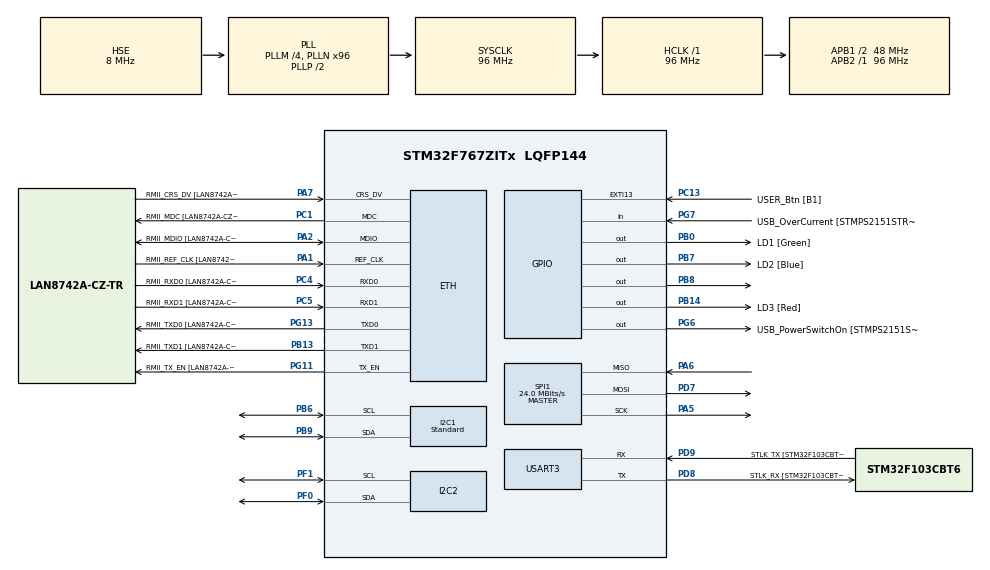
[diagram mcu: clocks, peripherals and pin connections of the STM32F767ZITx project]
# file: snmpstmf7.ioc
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ETH.MediaInterface=ETH_MEDIA_INTERFACE_RMII
ETH.PHY_Name=LAN8742A_PHY_ADDRESS
ETH.PHY_Value=0
ETH.PhyAddress=0
I2C1.I2C_Speed_Mode=I2C_Standard
I2C1.Timing=0x20303E5D
I2C2.Timing=0x20303E5D
LWIP.LWIP_SNMP=1
LWIP.Version=v2.1.2_Cube
Mcu.Family=STM32F7
Mcu.Name=STM32F767ZITx
Mcu.Package=LQFP144
NVIC.PriorityGroup=NVIC_PRIORITYGROUP_4
NVIC.TIM2_IRQn=true\:0\:0\:false\:false\:true\:true\:true\:true
NVIC.TIM4_IRQn=true\:0\:0\:false\:false\:true\:true\:true\:true
PA1.GPIO_Label=RMII_REF_CLK [LAN8742A-CZ-TR_REFCLK0]
PA1.Mode=RMII
PA1.Signal=ETH_REF_CLK
PA10.GPIO_Label=USB_ID
PA10.Signal=USB_OTG_FS_ID
PA11.GPIO_Label=USB_DM
PA11.Signal=USB_OTG_FS_DM
PA12.GPIO_Label=USB_DP
PA12.Signal=USB_OTG_FS_DP
PA13.GPIO_Label=TMS
PA13.Mode=Serial_Wire
PA13.Signal=SYS_JTMS-SWDIO
PA14.GPIO_Label=TCK
PA14.Mode=Serial_Wire
PA14.Signal=SYS_JTCK-SWCLK
PA2.GPIO_Label=RMII_MDIO [LAN8742A-CZ-TR_MDIO]
PA2.Mode=RMII
PA2.Signal=ETH_MDIO
PA5.Mode=Full_Duplex_Master
PA5.Signal=SPI1_SCK
PA6.Mode=Full_Duplex_Master
PA6.Signal=SPI1_MISO
PA7.GPIO_Label=RMII_CRS_DV [LAN8742A-CZ-TR_CRS_DV]
PA7.Mode=RMII
PA7.Signal=ETH_CRS_DV
PA8.GPIO_Label=USB_SOF [TP1]
PA8.Signal=USB_OTG_FS_SOF
PA9.GPIO_Label=USB_VBUS
PA9.Signal=USB_OTG_FS_VBUS
PB0.GPIO_Label=LD1 [Green]
PB0.Signal=GPIO_Output
PB13.GPIO_Label=RMII_TXD1 [LAN8742A-CZ-TR_TXD1]
PB13.Mode=RMII
PB13.Signal=ETH_TXD1
PB14.GPIO_Label=LD3 [Red]
PB14.Signal=GPIO_Output
PB3.GPIO_Label=SWO
PB3.Signal=SYS_JTDO-SWO
PB6.Mode=I2C
PB6.Signal=I2C1_SCL
PB7.GPIO_Label=LD2 [Blue]
PB7.Signal=GPIO_Output
PB8.Signal=GPIO_Output
PB9.Mode=I2C
PB9.Signal=I2C1_SDA
PC1.GPIO_Label=RMII_MDC [LAN8742A-CZ-TR_MDC]
PC1.Mode=RMII
PC1.Signal=ETH_MDC
PC13.GPIO_Label=USER_Btn [B1]
PC13.Signal=GPXTI13
PC14/OSC32_IN.Mode=LSE-External-Oscillator
PC14/OSC32_IN.Signal=RCC_OSC32_IN
PC15/OSC32_OUT.Mode=LSE-External-Oscillator
PC15/OSC32_OUT.Signal=RCC_OSC32_OUT
PC4.GPIO_Label=RMII_RXD0 [LAN8742A-CZ-TR_RXD0]
PC4.Mode=RMII
PC4.Signal=ETH_RXD0
PC5.GPIO_Label=RMII_RXD1 [LAN8742A-CZ-TR_RXD1]
PC5.Mode=RMII
PC5.Signal=ETH_RXD1
PD7.Mode=Full_Duplex_Master
PD7.Signal=SPI1_MOSI
PD8.GPIO_Label=STLK_RX [STM32F103CBT6_PA3]
PD8.Mode=Asynchronous
PD8.Signal=USART3_TX
PD9.GPIO_Label=STLK_TX [STM32F103CBT6_PA2]
PD9.Mode=Asynchronous
PD9.Signal=USART3_RX
PF0.Mode=I2C
PF0.Signal=I2C2_SDA
PF1.Mode=I2C
PF1.Signal=I2C2_SCL
PG11.GPIO_Label=RMII_TX_EN [LAN8742A-CZ-TR_TXEN]
PG11.Mode=RMII
PG11.Signal=ETH_TX_EN
PG13.GPIO_Label=RMII_TXD0 [LAN8742A-CZ-TR_TXD0]
PG13.Mode=RMII
PG13.Signal=ETH_TXD0
PG6.GPIO_Label=USB_PowerSwitchOn [STMPS2151STR_EN]
PG6.Signal=GPIO_Output
PG7.GPIO_Label=USB_OverCurrent [STMPS2151STR_FAULT]
PG7.Signal=GPIO_Input
PH0/OSC_IN.GPIO_Label=MCO [STM32F103CBT6_PA8]
PH0/OSC_IN.Mode=HSE-External-Oscillator
PH0/OSC_IN.Signal=RCC_OSC_IN
PH1/OSC_OUT.Mode=HSE-External-Oscillator
PH1/OSC_OUT.Signal=RCC_OSC_OUT
ProjectManager.HeapSize=0x200
ProjectManager.StackSize=0x400
ProjectManager.TargetToolchain=STM32CubeIDE
RCC.48MHZClocksFreq_Value=24000000
RCC.AHBFreq_Value=96000000
RCC.APB1CLKDivider=RCC_HCLK_DIV2
RCC.APB1Freq_Value=48000000
RCC.APB1TimFreq_Value=96000000
RCC.APB2Freq_Value=96000000
RCC.APB2TimFreq_Value=96000000
RCC.CortexFreq_Value=96000000
RCC.HCLKFreq_Value=96000000
RCC.HSE_VALUE=8000000
RCC.HSI_VALUE=16000000
RCC.PLLM=4
RCC.PLLMUL=RCC_PLL_MUL9
RCC.PLLN=96
RCC.PLLQ=4
RCC.PLLSourceVirtual=RCC_PLLSOURCE_HSE
RCC.PRESCALERUSB=RCC_USBCLKSOURCE_PLL_DIV1_5
RCC.SYSCLKFreq_VALUE=96000000
RCC.SYSCLKSource=RCC_SYSCLKSOURCE_PLLCLK
RCC.SYSCLKSourceVirtual=RCC_SYSCLKSOURCE_PLLCLK
RCC.USBFreq_Value=48000000
RCC.VCOOutputFreq_Value=192000000
SPI1.BaudRatePrescaler=SPI_BAUDRATEPRESCALER_4
SPI1.CalculateBaudRate=24.0 MBits/s
SPI1.DataSize=SPI_DATASIZE_8BIT
SPI1.Direction=SPI_DIRECTION_2LINES
SPI1.Mode=SPI_MODE_MASTER
SPI1.VirtualType=VM_MASTER
USART3.VirtualMode-Asynchronous=VM_ASYNC
VP_LWIP_VS_Enabled.Mode=Enabled
VP_TIM2_VS_ClockSourceINT.Mode=Internal
VP_TIM4_VS_ClockSourceINT.Mode=Internal
board=NUCLEO-F767ZI

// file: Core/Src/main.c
/* USER CODE BEGIN Header */
/**
  ******************************************************************************
  * @file           : main.c
  * @brief          : Main program body
  ******************************************************************************
  * @attention
  *
  * Copyright (c) 2022 STMicroelectronics.
  * All rights reserved.
  *
  * This software is licensed under terms that can be found in the LICENSE file
  * in the root directory of this software component.
  * If no LICENSE file comes with this software, it is provided AS-IS.
  *
  ******************************************************************************
  */
/* USER CODE END Header */
#include "main.h"
#include "lwip.h"

/* USER CODE BEGIN Includes */
#include "lwip/apps/snmp.h"
#include "lwip/apps/snmp_mib2.h"
#include "lwip/apps/snmpv3.h"
#include "lwip/apps/snmp_snmpv2_framework.h"
#include "lwip/apps/snmp_snmpv2_usm.h"
#include "BH1750.h"
#include "sht2x_for_stm32_hal.h"

/* USER CODE END Includes */

I2C_HandleTypeDef hi2c1;
I2C_HandleTypeDef hi2c2;

SPI_HandleTypeDef hspi1;

TIM_HandleTypeDef htim2;
TIM_HandleTypeDef htim4;

UART_HandleTypeDef huart3;

void SystemClock_Config(void);
static void MX_GPIO_Init(void);
static void MX_USART3_UART_Init(void);
static void MX_I2C1_Init(void);
static void MX_SPI1_Init(void);
static void MX_TIM2_Init(void);
static void MX_TIM4_Init(void);
static void MX_I2C2_Init(void);
/* USER CODE BEGIN PFP */
char BHbuffer[50];
BH1750_device_t* test_dev;
unsigned char SHTbuffer[100] = { 0 };

/* USER CODE END PFP */

/* USER CODE BEGIN 0 */
static const struct snmp_mib *my_snmp_mibs[] = { &mib2, &parm_mib };
const u8_t * SNMP_SYSDESCR = (u8_t*) "sample_snmp_agent";
const u16_t SNMP_SYSDESCR_LEN = sizeof("sample_snmp_agent");
//1.3.6.1.2.1.1.4.0
u8_t * SNMP_SYSCONTACT = (u8_t*) "testmail@contact.com";
u16_t SNMP_SYSCONTACT_LEN = sizeof("testmail@contact.com");
//1.3.6.1.2.1.1.5.0
u8_t * SNMP_SYSNAME = (u8_t*) "stm32_Core_board_V2";
uint16_t SNMP_SYSNAME_LEN = sizeof("stm32_Core_board_V2");
//1.3.6.1.2.1.1.6.0
uint8_t * SNMP_SYSLOCATION = (u8_t*) "MY_Company";
uint16_t SNMP_SYSLOCATION_LEN = sizeof("MY_Company");
/*
 * ----- TODO: Global variables for SNMP Trap ^^^
*/

/* buffer for snmp service */
uint16_t snmp_buffer = 64;
uint32_t luxtimer,temptimer;
/* relation between mib node and gpio, exist in my_gpio.h */
uint32_t *leds, *switches, *xgpio;
float cel1 ;
float rh1;
/*
 * TODO: Setup SNMP server
 * Define a specific address to send SNMP broadcast package.
*/
#define SNMP_SERVER_IP "192.168.4.250"

static const char *TAG = "simple_snmp_agent.c";
/* USER CODE END 0 */

int main(void)
{

  /* MCU Configuration--------------------------------------------------------*/

  /* Reset of all peripherals, Initializes the Flash interface and the Systick. */
  HAL_Init();

  /* Configure the system clock */
  SystemClock_Config();

  /* Initialize all configured peripherals */
  MX_GPIO_Init();
  MX_USART3_UART_Init();
  MX_I2C1_Init();
  MX_SPI1_Init();
  MX_LWIP_Init();
  MX_TIM2_Init();
  MX_TIM4_Init();
  MX_I2C2_Init();
  /* USER CODE BEGIN 2 */
test_dev = BH1750_init_dev_struct(&hi2c2, "test device", true);
  BH1750_init_dev(test_dev);
	SHT2x_Init(&hi2c1);
	SHT2x_SetResolution(RES_14_12);

  /* USER CODE END 2 */
  if(HAL_TIM_Base_Start_IT(&htim2) != HAL_OK)
  {
    /* Starting Error */
    Error_Handler();
  }
  if(HAL_TIM_Base_Start_IT(&htim4) != HAL_OK)
  {
    /* Starting Error */
    Error_Handler();
  }
  u32_t gpiovalue = 0;
  	xgpio = &gpiovalue;
	leds = (u32_t*) LD2_Pin;
	switches = (u32_t*) USER_Btn_Pin; //as example
	snmp_mib2_set_syscontact(SNMP_SYSCONTACT, &SNMP_SYSCONTACT_LEN, snmp_buffer);
		snmp_mib2_set_syslocation(SNMP_SYSLOCATION, &SNMP_SYSLOCATION_LEN, snmp_buffer);
		snmp_set_auth_traps_enabled(ENABLE);
		snmp_mib2_set_sysdescr(SNMP_SYSDESCR, &SNMP_SYSDESCR_LEN);
		snmp_mib2_set_sysname(SNMP_SYSNAME, &SNMP_SYSNAME_LEN, snmp_buffer);

		ip_addr_t gw = { 0 };
	    ipaddr_aton(SNMP_SERVER_IP,&gw);

		snmp_trap_dst_ip_set(TRAP_DESTINATION_INDEX, &gw);
		snmp_trap_dst_enable(TRAP_DESTINATION_INDEX, ENABLE);
		snmp_set_mibs(my_snmp_mibs, LWIP_ARRAYSIZE(my_snmp_mibs));

	    snmp_init();
  /* Infinite loop */
  /* USER CODE BEGIN WHILE */
  while (1)
  {
	  MX_LWIP_Process();
			HAL_Delay(1);
	  /* USER CODE END WHILE */

  }
}

void SystemClock_Config(void)
{
  RCC_OscInitTypeDef RCC_OscInitStruct = {0};
  RCC_ClkInitTypeDef RCC_ClkInitStruct = {0};

  /** Configure LSE Drive Capability
  */
  HAL_PWR_EnableBkUpAccess();

  /** Configure the main internal regulator output voltage
  */
  __HAL_RCC_PWR_CLK_ENABLE();
  __HAL_PWR_VOLTAGESCALING_CONFIG(PWR_REGULATOR_VOLTAGE_SCALE3);

  /** Initializes the RCC Oscillators according to the specified parameters
  * in the RCC_OscInitTypeDef structure.
  */
  RCC_OscInitStruct.OscillatorType = RCC_OSCILLATORTYPE_HSE;
  RCC_OscInitStruct.HSEState = RCC_HSE_ON;
  RCC_OscInitStruct.PLL.PLLState = RCC_PLL_ON;
  RCC_OscInitStruct.PLL.PLLSource = RCC_PLLSOURCE_HSE;
  RCC_OscInitStruct.PLL.PLLM = 4;
  RCC_OscInitStruct.PLL.PLLN = 96;
  RCC_OscInitStruct.PLL.PLLP = RCC_PLLP_DIV2;
  RCC_OscInitStruct.PLL.PLLQ = 4;
  RCC_OscInitStruct.PLL.PLLR = 2;
  if (HAL_RCC_OscConfig(&RCC_OscInitStruct) != HAL_OK)
  {
    Error_Handler();
  }

  /** Activate the Over-Drive mode
  */
  if (HAL_PWREx_EnableOverDrive() != HAL_OK)
  {
    Error_Handler();
  }

  /** Initializes the CPU, AHB and APB buses clocks
  */
  RCC_ClkInitStruct.ClockType = RCC_CLOCKTYPE_HCLK|RCC_CLOCKTYPE_SYSCLK
                              |RCC_CLOCKTYPE_PCLK1|RCC_CLOCKTYPE_PCLK2;
  RCC_ClkInitStruct.SYSCLKSource = RCC_SYSCLKSOURCE_PLLCLK;
  RCC_ClkInitStruct.AHBCLKDivider = RCC_SYSCLK_DIV1;
  RCC_ClkInitStruct.APB1CLKDivider = RCC_HCLK_DIV2;
  RCC_ClkInitStruct.APB2CLKDivider = RCC_HCLK_DIV1;

  if (HAL_RCC_ClockConfig(&RCC_ClkInitStruct, FLASH_LATENCY_3) != HAL_OK)
  {
    Error_Handler();
  }
}

static void MX_I2C1_Init(void)
{

  hi2c1.Instance = I2C1;
  hi2c1.Init.Timing = 0x20303E5D;
  hi2c1.Init.OwnAddress1 = 0;
  hi2c1.Init.AddressingMode = I2C_ADDRESSINGMODE_7BIT;
  hi2c1.Init.DualAddressMode = I2C_DUALADDRESS_DISABLE;
  hi2c1.Init.OwnAddress2 = 0;
  hi2c1.Init.OwnAddress2Masks = I2C_OA2_NOMASK;
  hi2c1.Init.GeneralCallMode = I2C_GENERALCALL_DISABLE;
  hi2c1.Init.NoStretchMode = I2C_NOSTRETCH_DISABLE;
  if (HAL_I2C_Init(&hi2c1) != HAL_OK)
  {
    Error_Handler();
  }

  /** Configure Analogue filter
  */
  if (HAL_I2CEx_ConfigAnalogFilter(&hi2c1, I2C_ANALOGFILTER_ENABLE) != HAL_OK)
  {
    Error_Handler();
  }

  /** Configure Digital filter
  */
  if (HAL_I2CEx_ConfigDigitalFilter(&hi2c1, 0) != HAL_OK)
  {
    Error_Handler();
  }

}

static void MX_I2C2_Init(void)
{

  hi2c2.Instance = I2C2;
  hi2c2.Init.Timing = 0x20303E5D;
  hi2c2.Init.OwnAddress1 = 0;
  hi2c2.Init.AddressingMode = I2C_ADDRESSINGMODE_7BIT;
  hi2c2.Init.DualAddressMode = I2C_DUALADDRESS_DISABLE;
  hi2c2.Init.OwnAddress2 = 0;
  hi2c2.Init.OwnAddress2Masks = I2C_OA2_NOMASK;
  hi2c2.Init.GeneralCallMode = I2C_GENERALCALL_DISABLE;
  hi2c2.Init.NoStretchMode = I2C_NOSTRETCH_DISABLE;
  if (HAL_I2C_Init(&hi2c2) != HAL_OK)
  {
    Error_Handler();
  }

  /** Configure Analogue filter
  */
  if (HAL_I2CEx_ConfigAnalogFilter(&hi2c2, I2C_ANALOGFILTER_ENABLE) != HAL_OK)
  {
    Error_Handler();
  }

  /** Configure Digital filter
  */
  if (HAL_I2CEx_ConfigDigitalFilter(&hi2c2, 0) != HAL_OK)
  {
    Error_Handler();
  }

}

static void MX_SPI1_Init(void)
{

  /* SPI1 parameter configuration*/
  hspi1.Instance = SPI1;
  hspi1.Init.Mode = SPI_MODE_MASTER;
  hspi1.Init.Direction = SPI_DIRECTION_2LINES;
  hspi1.Init.DataSize = SPI_DATASIZE_8BIT;
  hspi1.Init.CLKPolarity = SPI_POLARITY_LOW;
  hspi1.Init.CLKPhase = SPI_PHASE_1EDGE;
  hspi1.Init.NSS = SPI_NSS_SOFT;
  hspi1.Init.BaudRatePrescaler = SPI_BAUDRATEPRESCALER_4;
  hspi1.Init.FirstBit = SPI_FIRSTBIT_MSB;
  hspi1.Init.TIMode = SPI_TIMODE_DISABLE;
  hspi1.Init.CRCCalculation = SPI_CRCCALCULATION_DISABLE;
  hspi1.Init.CRCPolynomial = 7;
  hspi1.Init.CRCLength = SPI_CRC_LENGTH_DATASIZE;
  hspi1.Init.NSSPMode = SPI_NSS_PULSE_ENABLE;
  if (HAL_SPI_Init(&hspi1) != HAL_OK)
  {
    Error_Handler();
  }

}

static void MX_TIM2_Init(void)
{

  TIM_ClockConfigTypeDef sClockSourceConfig = {0};
  TIM_MasterConfigTypeDef sMasterConfig = {0};

  htim2.Instance = TIM2;
  htim2.Init.Prescaler = 960;
  htim2.Init.CounterMode = TIM_COUNTERMODE_UP;
  htim2.Init.Period = 9999;
  htim2.Init.ClockDivision = TIM_CLOCKDIVISION_DIV1;
  htim2.Init.AutoReloadPreload = TIM_AUTORELOAD_PRELOAD_DISABLE;
  if (HAL_TIM_Base_Init(&htim2) != HAL_OK)
  {
    Error_Handler();
  }
  sClockSourceConfig.ClockSource = TIM_CLOCKSOURCE_INTERNAL;
  if (HAL_TIM_ConfigClockSource(&htim2, &sClockSourceConfig) != HAL_OK)
  {
    Error_Handler();
  }
  sMasterConfig.MasterOutputTrigger = TIM_TRGO_RESET;
  sMasterConfig.MasterSlaveMode = TIM_MASTERSLAVEMODE_DISABLE;
  if (HAL_TIMEx_MasterConfigSynchronization(&htim2, &sMasterConfig) != HAL_OK)
  {
    Error_Handler();
  }

}

static void MX_TIM4_Init(void)
{

  TIM_ClockConfigTypeDef sClockSourceConfig = {0};
  TIM_MasterConfigTypeDef sMasterConfig = {0};

  htim4.Instance = TIM4;
  htim4.Init.Prescaler = 960;
  htim4.Init.CounterMode = TIM_COUNTERMODE_UP;
  htim4.Init.Period = 9999;
  htim4.Init.ClockDivision = TIM_CLOCKDIVISION_DIV1;
  htim4.Init.AutoReloadPreload = TIM_AUTORELOAD_PRELOAD_DISABLE;
  if (HAL_TIM_Base_Init(&htim4) != HAL_OK)
  {
    Error_Handler();
  }
  sClockSourceConfig.ClockSource = TIM_CLOCKSOURCE_INTERNAL;
  if (HAL_TIM_ConfigClockSource(&htim4, &sClockSourceConfig) != HAL_OK)
  {
    Error_Handler();
  }
  sMasterConfig.MasterOutputTrigger = TIM_TRGO_RESET;
  sMasterConfig.MasterSlaveMode = TIM_MASTERSLAVEMODE_DISABLE;
  if (HAL_TIMEx_MasterConfigSynchronization(&htim4, &sMasterConfig) != HAL_OK)
  {
    Error_Handler();
  }

}

static void MX_USART3_UART_Init(void)
{

  huart3.Instance = USART3;
  huart3.Init.BaudRate = 115200;
  huart3.Init.WordLength = UART_WORDLENGTH_8B;
  huart3.Init.StopBits = UART_STOPBITS_1;
  huart3.Init.Parity = UART_PARITY_NONE;
  huart3.Init.Mode = UART_MODE_TX_RX;
  huart3.Init.HwFlowCtl = UART_HWCONTROL_NONE;
  huart3.Init.OverSampling = UART_OVERSAMPLING_16;
  huart3.Init.OneBitSampling = UART_ONE_BIT_SAMPLE_DISABLE;
  huart3.AdvancedInit.AdvFeatureInit = UART_ADVFEATURE_NO_INIT;
  if (HAL_UART_Init(&huart3) != HAL_OK)
  {
    Error_Handler();
  }

}

static void MX_GPIO_Init(void)
{
  GPIO_InitTypeDef GPIO_InitStruct = {0};

  /* GPIO Ports Clock Enable */
  __HAL_RCC_GPIOC_CLK_ENABLE();
  __HAL_RCC_GPIOF_CLK_ENABLE();
  __HAL_RCC_GPIOH_CLK_ENABLE();
  __HAL_RCC_GPIOA_CLK_ENABLE();
  __HAL_RCC_GPIOB_CLK_ENABLE();
  __HAL_RCC_GPIOD_CLK_ENABLE();
  __HAL_RCC_GPIOG_CLK_ENABLE();

  /*Configure GPIO pin Output Level */
  HAL_GPIO_WritePin(GPIOB, LD1_Pin|LD3_Pin|LD2_Pin, GPIO_PIN_RESET);

  /*Configure GPIO pin Output Level */
  HAL_GPIO_WritePin(USB_PowerSwitchOn_GPIO_Port, USB_PowerSwitchOn_Pin, GPIO_PIN_RESET);

  /*Configure GPIO pin : USER_Btn_Pin */
  GPIO_InitStruct.Pin = USER_Btn_Pin;
  GPIO_InitStruct.Mode = GPIO_MODE_IT_RISING;
  GPIO_InitStruct.Pull = GPIO_NOPULL;
  HAL_GPIO_Init(USER_Btn_GPIO_Port, &GPIO_InitStruct);

  /*Configure GPIO pins : LD1_Pin LD3_Pin LD2_Pin */
  GPIO_InitStruct.Pin = LD1_Pin|LD3_Pin|LD2_Pin;
  GPIO_InitStruct.Mode = GPIO_MODE_OUTPUT_PP;
  GPIO_InitStruct.Pull = GPIO_NOPULL;
  GPIO_InitStruct.Speed = GPIO_SPEED_FREQ_LOW;
  HAL_GPIO_Init(GPIOB, &GPIO_InitStruct);

  /*Configure GPIO pin : USB_PowerSwitchOn_Pin */
  GPIO_InitStruct.Pin = USB_PowerSwitchOn_Pin;
  GPIO_InitStruct.Mode = GPIO_MODE_OUTPUT_PP;
  GPIO_InitStruct.Pull = GPIO_NOPULL;
  GPIO_InitStruct.Speed = GPIO_SPEED_FREQ_LOW;
  HAL_GPIO_Init(USB_PowerSwitchOn_GPIO_Port, &GPIO_InitStruct);

  /*Configure GPIO pin : USB_OverCurrent_Pin */
  GPIO_InitStruct.Pin = USB_OverCurrent_Pin;
  GPIO_InitStruct.Mode = GPIO_MODE_INPUT;
  GPIO_InitStruct.Pull = GPIO_NOPULL;
  HAL_GPIO_Init(USB_OverCurrent_GPIO_Port, &GPIO_InitStruct);

  /*Configure GPIO pins : USB_SOF_Pin USB_ID_Pin USB_DM_Pin USB_DP_Pin */
  GPIO_InitStruct.Pin = USB_SOF_Pin|USB_ID_Pin|USB_DM_Pin|USB_DP_Pin;
  GPIO_InitStruct.Mode = GPIO_MODE_AF_PP;
  GPIO_InitStruct.Pull = GPIO_NOPULL;
  GPIO_InitStruct.Speed = GPIO_SPEED_FREQ_VERY_HIGH;
  GPIO_InitStruct.Alternate = GPIO_AF10_OTG_FS;
  HAL_GPIO_Init(GPIOA, &GPIO_InitStruct);

  /*Configure GPIO pin : USB_VBUS_Pin */
  GPIO_InitStruct.Pin = USB_VBUS_Pin;
  GPIO_InitStruct.Mode = GPIO_MODE_INPUT;
  GPIO_InitStruct.Pull = GPIO_NOPULL;
  HAL_GPIO_Init(USB_VBUS_GPIO_Port, &GPIO_InitStruct);

}

/* USER CODE BEGIN 4 */
void HAL_TIM_PeriodElapsedCallback(TIM_HandleTypeDef *htim)
{
if(htim->Instance==TIM2){
	luxtimer++;
	if(luxtimer==30){
    test_dev->poll(test_dev);
    luxtimer=0;
	}

}
if(htim->Instance==TIM4){
	temptimer++;
	if(temptimer==30){
	 cel1 = SHT2x_GetTemperature(1);
		/* Converts temperature to degrees Fahrenheit and Kelvin */
		float fah1 = SHT2x_CelsiusToFahrenheit(cel1);
		float kel1= SHT2x_CelsiusToKelvin(cel1);
		 rh1 = SHT2x_GetRelativeHumidity(1);
			sprintf(SHTbuffer,
						"%d.%dºC, %d.%dºF, %d.%d K, %d.%d%% RH\n\r",
						SHT2x_GetInteger(cel1), SHT2x_GetDecimal(cel1, 1),
						SHT2x_GetInteger(fah1), SHT2x_GetDecimal(fah1, 1),
						SHT2x_GetInteger(kel1), SHT2x_GetDecimal(kel1, 1),
						SHT2x_GetInteger(rh1), SHT2x_GetDecimal(rh1, 1));
				HAL_UART_Transmit(&huart3, SHTbuffer, strlen(SHTbuffer), 1000);
				temptimer=0;
	}
}
}
/* USER CODE END 4 */

void Error_Handler(void)
{
  __disable_irq();
  while (1)
  {
  }
}
